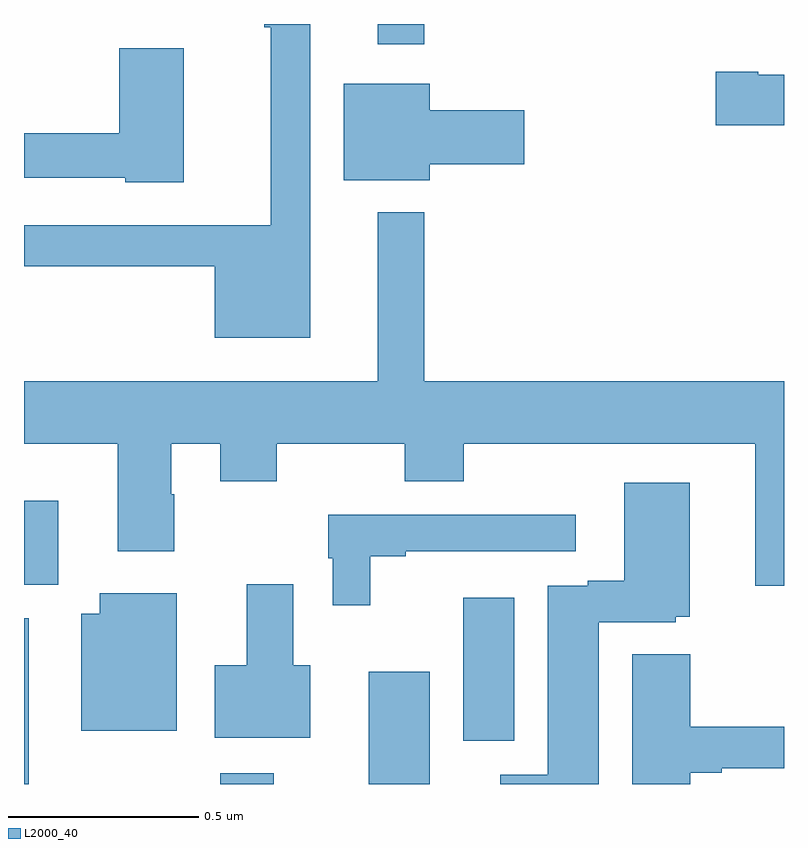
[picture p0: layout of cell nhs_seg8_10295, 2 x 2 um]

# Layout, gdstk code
import gdstk
lib = gdstk.Library(unit=1e-6, precision=1e-09)
def R(c, l, rs):  # rectangles x0, y0, x1, y1
    for r in rs: c.add(gdstk.rectangle(r[:2], r[2:], *l))
def P(c, l, *ps):  # polygons
    for p in ps: c.add(gdstk.Polygon(p, *l))
L2000_40 = (2000, 40)

nhs_seg8_10295 = lib.new_cell('nhs_seg8_10295')
R(nhs_seg8_10295, L2000_40, [(247,1152.9,247.012,1153.336), (247.517,1152.9,247.657,1152.928), (247.907,1152.9,248.068,1153.195), (248.156,1153.014,248.29,1153.39), (247,1153.425,247.09,1153.645), (247.931,1154.847,248.053,1154.9)])
P(nhs_seg8_10295, L2000_40, [(247.753,1154.9),(247.632,1154.9),(247.632,1154.891),(247.649,1154.891),(247.649,1154.37),(247,1154.37),(247,1154.262),(247.502,1154.262),(247.502,1154.075),(247.753,1154.075)],
  [(247.42,1154.836),(247.25,1154.836),(247.25,1154.612),(247,1154.612),(247,1154.496),(247.266,1154.496),(247.266,1154.483),(247.42,1154.483)],
  [(249,1154.767),(248.932,1154.767),(248.932,1154.775),(248.82,1154.775),(248.82,1154.633),(249,1154.633)],
  [(248.068,1154.531),(248.317,1154.531),(248.317,1154.673),(248.068,1154.673),(248.068,1154.743),(247.841,1154.743),(247.841,1154.489),(248.068,1154.489)],
  [(249,1153.96),(248.053,1153.96),(248.053,1154.404),(247.931,1154.404),(247.931,1153.96),(247,1153.96),(247,1153.796),(247.247,1153.796),(247.247,1153.512),(247.395,1153.512),(247.395,1153.662),(247.387,1153.662),(247.387,1153.796),(247.517,1153.796),(247.517,1153.697),(247.665,1153.697),(247.665,1153.796),(248.002,1153.796),(248.002,1153.697),(248.157,1153.697),(248.157,1153.796),(248.924,1153.796),(248.924,1153.422),(249,1153.422)],
  [(248.512,1153.326),(248.715,1153.326),(248.715,1153.34),(248.752,1153.34),(248.752,1153.693),(248.579,1153.693),(248.579,1153.435),(248.483,1153.435),(248.483,1153.422),(248.378,1153.422),(248.378,1152.924),(248.253,1152.924),(248.253,1152.9),(248.512,1152.9)],
  [(247.911,1153.5),(248.005,1153.5),(248.005,1153.512),(248.452,1153.512),(248.452,1153.608),(247.8,1153.608),(247.8,1153.494),(247.812,1153.494),(247.812,1153.371),(247.911,1153.371)],
  [(247.753,1153.213),(247.708,1153.213),(247.708,1153.426),(247.586,1153.426),(247.586,1153.213),(247.502,1153.213),(247.502,1153.022),(247.753,1153.022)],
  [(247.402,1153.402),(247.199,1153.402),(247.199,1153.348),(247.151,1153.348),(247.151,1153.04),(247.402,1153.04)],
  [(248.753,1152.93),(248.836,1152.93),(248.836,1152.942),(249,1152.942),(249,1153.051),(248.753,1153.051),(248.753,1153.241),(248.6,1153.241),(248.6,1152.9),(248.753,1152.9)])

lib.write_gds('nhs_seg8_10295.gds')
